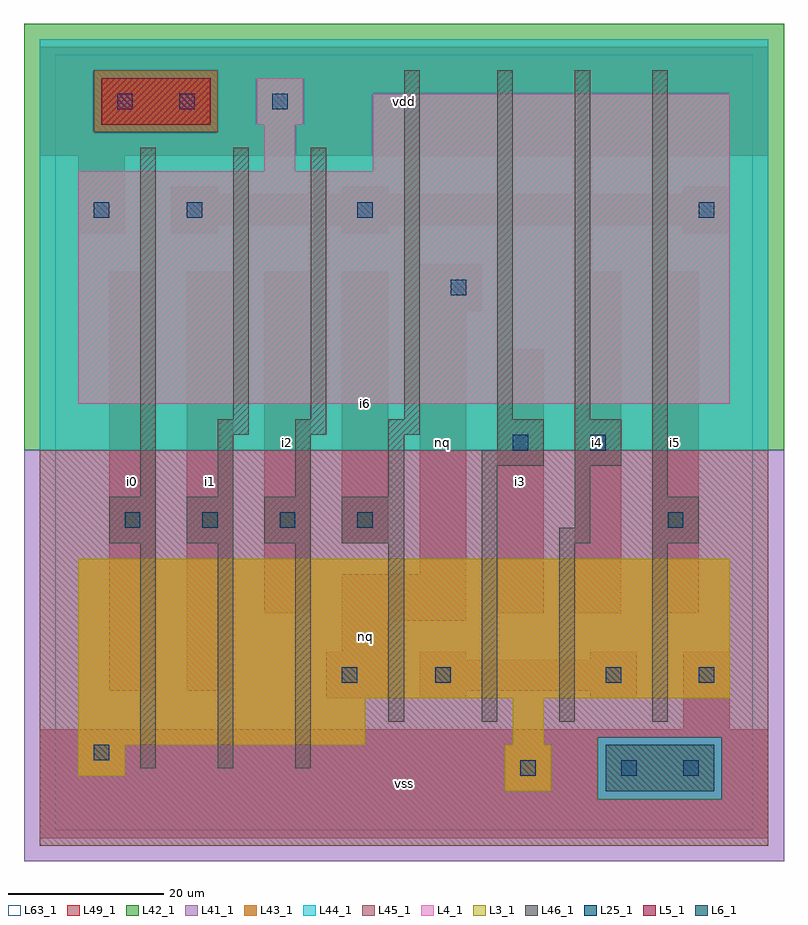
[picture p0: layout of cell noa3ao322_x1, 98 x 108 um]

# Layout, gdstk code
import gdstk
lib = gdstk.Library(unit=1e-6, precision=1e-09)
def R(c, l, rs):  # rectangles x0, y0, x1, y1
    for r in rs: c.add(gdstk.rectangle(r[:2], r[2:], *l))
def A(c, l, x, y, w, h, nx, ny, dx, dy):  # array of equal rectangles
    R(c, l, [(x+i*dx, y+j*dy, x+i*dx+w, y+j*dy+h) for i in range(nx) for j in range(ny)])
L3_1 = (3, 1)
L4_1 = (4, 1)
L5_1 = (5, 1)
L6_1 = (6, 1)
L25_1 = (25, 1)
L41_1 = (41, 1)
L42_1 = (42, 1)
L43_1 = (43, 1)
L44_1 = (44, 1)
L45_1 = (45, 1)
L46_1 = (46, 1)
L49_1 = (49, 1)
L63_1 = (63, 1)

noa3ao322_x1 = lib.new_cell('noa3ao322_x1')
R(noa3ao322_x1, L3_1, [(58,5,64,11), (3,7,9,11), (3,11,40,17), (59,11,63,17), (3,17,87,35)])
R(noa3ao322_x1, L4_1, [(3,55,87,85), (27,85,31,91), (41,85,87,95), (26,91,32,97)])
R(noa3ao322_x1, L5_1, [(6,91,20,97)])
R(noa3ao322_x1, L6_1, [(71,5,85,11)])
A(noa3ao322_x1, L25_1, 9, 39, 2, 2, 4, 1, 10, 0)
R(noa3ao322_x1, L25_1, [(60,7,62,9), (73,7,75,9), (81,7,83,9), (5,9,7,11), (37,19,39,21), (49,19,51,21), (71,19,73,21), (83,19,85,21), (79,39,81,41), (59,49,61,51), (69,49,71,51), (51,69,53,71), (5,79,7,81), (17,79,19,81), (39,79,41,81), (83,79,85,81), (8,93,10,95), (16,93,18,95), (28,93,30,95)])
R(noa3ao322_x1, L41_1, [(-4,-4,94,49)])
R(noa3ao322_x1, L42_1, [(-4,49,94,104)])
R(noa3ao322_x1, L43_1, [(58,5,64,11), (71,5,85,11), (3,7,9,11), (3,11,40,17), (59,11,63,17), (3,17,87,35), (3,55,87,85), (27,85,31,91), (41,85,87,95), (6,91,20,97), (26,91,32,97)])
R(noa3ao322_x1, L44_1, [(70,4,86,12), (-2,49,92,90), (-2,90,5,98), (21,90,92,98), (-2,98,92,102)])
R(noa3ao322_x1, L45_1, [(-2,-2,92,4), (-2,4,70,12), (86,4,92,12), (-2,12,92,49), (5,90,21,98)])
A(noa3ao322_x1, L46_1, 11, 8, 2, 29, 3, 1, 10, 0)
A(noa3ao322_x1, L46_1, 7, 37, 6, 6, 3, 1, 10, 0)
R(noa3ao322_x1, L46_1, [(43,14,45,37), (55,14,57,47), (65,14,67,37), (77,14,79,37), (37,37,45,43), (65,37,69,39), (77,37,83,43), (67,39,69,47), (11,43,13,88), (21,43,23,51), (31,43,33,51), (43,43,45,51), (77,43,79,98), (55,47,63,49), (67,47,73,53), (57,49,63,53), (21,51,25,53), (31,51,35,53), (43,51,47,53), (23,53,25,88), (33,53,35,88), (45,53,47,98), (57,53,59,98), (67,53,69,98)])
R(noa3ao322_x1, L49_1, [(-2,-1,92,13), (81,13,87,23), (35,17,43,23), (47,17,53,18), (69,17,75,18), (7,18,13,72), (17,18,23,72), (47,18,75,22), (47,22,53,23), (69,22,75,23), (37,23,43,27), (37,27,53,33), (27,28,33,72), (57,28,63,62), (67,28,73,72), (77,28,83,72), (47,33,53,67), (37,37,43,72), (47,67,55,73), (3,77,9,87), (15,77,21,78), (37,77,43,78), (81,77,87,78), (15,78,87,82), (15,82,21,83), (37,82,43,83), (81,82,87,83), (-2,87,92,101)])
R(noa3ao322_x1, L63_1, [(0,0,90,100)])
noa3ao322_x1.add(gdstk.Label('i0', (10,45), layer=49, texttype=1))
noa3ao322_x1.add(gdstk.Label('i0', (10,45), layer=49, texttype=1))
noa3ao322_x1.add(gdstk.Label('i2', (30,50), layer=49, texttype=1))
noa3ao322_x1.add(gdstk.Label('i1', (20,45), layer=49, texttype=1))
noa3ao322_x1.add(gdstk.Label('i2', (30,50), layer=49, texttype=1))
noa3ao322_x1.add(gdstk.Label('i1', (20,45), layer=49, texttype=1))
noa3ao322_x1.add(gdstk.Label('vss', (45,6), layer=49, texttype=1))
noa3ao322_x1.add(gdstk.Label('vss', (45,6), layer=49, texttype=1))
noa3ao322_x1.add(gdstk.Label('nq', (40,25), layer=49, texttype=1))
noa3ao322_x1.add(gdstk.Label('nq', (40,25), layer=49, texttype=1))
noa3ao322_x1.add(gdstk.Label('nq', (50,50), layer=49, texttype=1))
noa3ao322_x1.add(gdstk.Label('i6', (40,55), layer=49, texttype=1))
noa3ao322_x1.add(gdstk.Label('nq', (50,50), layer=49, texttype=1))
noa3ao322_x1.add(gdstk.Label('i6', (40,55), layer=49, texttype=1))
noa3ao322_x1.add(gdstk.Label('vdd', (45,94), layer=49, texttype=1))
noa3ao322_x1.add(gdstk.Label('vdd', (45,94), layer=49, texttype=1))
noa3ao322_x1.add(gdstk.Label('i4', (70,50), layer=49, texttype=1))
noa3ao322_x1.add(gdstk.Label('i3', (60,45), layer=49, texttype=1))
noa3ao322_x1.add(gdstk.Label('i4', (70,50), layer=49, texttype=1))
noa3ao322_x1.add(gdstk.Label('i3', (60,45), layer=49, texttype=1))
noa3ao322_x1.add(gdstk.Label('i5', (80,50), layer=49, texttype=1))
noa3ao322_x1.add(gdstk.Label('i5', (80,50), layer=49, texttype=1))

lib.write_gds('noa3ao322_x1.gds')
